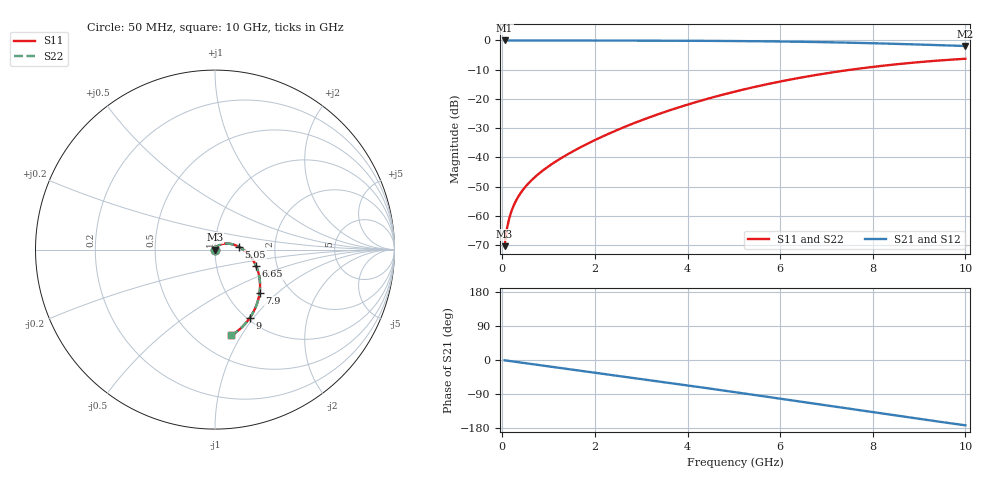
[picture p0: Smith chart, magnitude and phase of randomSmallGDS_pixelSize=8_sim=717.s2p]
! freq	dB(S11)	phase(S11)	dB(S12)	phase(S12)
!  dB(S21)	phase(S21)	dB(S22)	phase(S22)
!S-par simulation data
#  GHz  S  DB  R 50
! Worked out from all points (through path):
!   200 points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, 50 MHz to 10 GHz, reference 50 ohm
!   highest |S21| = 0.00 dB at 50 MHz (marker M1); lowest = -1.9 dB at 10 GHz (marker M2)
!   group delay of S21, straight-line fit = 48.2 ps
!   lowest |S11| = -70.3 dB at 50 MHz (marker M3), VSWR 1.00, Z = 50 + j0.0303 ohm
!   |S11| at or under -10 dB: start of sweep to 7.528 GHz
!   |S22| runs from -70.3 to -6.3 dB; largest |S21 - S12| = 0
!   S11 on the Smith chart (normalised r, x): 50 MHz: 1.00, +0.00; 5.05 GHz: 1.31, +0.04; 6.65 GHz: 1.56, -0.31; 7.9 GHz: 1.42, -0.77; 9 GHz: 1.03, -0.96; 10 GHz: 0.72, -0.91
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0.05  -70.32 84.4  -0.00 -0.8  -0.00 -0.8  -70.32 84.4
0.1  -64.32 86.1  -0.00 -1.7  -0.00 -1.7  -64.32 86.1
0.15  -60.78 86.3  -0.00 -2.5  -0.00 -2.5  -60.78 86.3
0.2  -58.26 86.0  -0.00 -3.3  -0.00 -3.3  -58.26 86.0
0.3  -54.66 85.0  -0.00 -5.0  -0.00 -5.0  -54.66 85.0
0.45  -50.98 83.2  -0.01 -7.5  -0.01 -7.5  -50.98 83.2
0.65  -47.49 80.5  -0.01 -10.8  -0.01 -10.8  -47.49 80.5
0.95  -43.58 76.2  -0.02 -15.8  -0.02 -15.8  -43.58 76.2
1.3  -39.96 70.9  -0.02 -21.6  -0.02 -21.6  -39.96 70.9
1.75  -36.01 63.6  -0.03 -29.1  -0.03 -29.1  -36.01 63.6
2.55  -30.16 50.0  -0.05 -42.4  -0.05 -42.4  -30.16 50.0
3.4  -25.03 35.3  -0.08 -56.8  -0.08 -56.8  -25.03 35.3
4.25  -20.76 20.4  -0.12 -71.4  -0.12 -71.4  -20.76 20.4
5.05  -17.38 6.4  -0.20 -85.3  -0.20 -85.3  -17.38 6.4
5.85  -14.52 -7.8  -0.32 -99.4  -0.32 -99.4  -14.52 -7.8
6.65  -12.13 -22.0  -0.50 -113.7  -0.50 -113.7  -12.13 -22.0
6.7  -12.00 -22.8  -0.51 -114.6  -0.51 -114.6  -12.00 -22.8
7.3  -10.51 -33.5  -0.69 -125.3  -0.69 -125.3  -10.51 -33.5
7.9  -9.23 -44.0  -0.91 -136.0  -0.91 -136.0  -9.23 -44.0
8.35  -8.41 -51.8  -1.09 -144.0  -1.09 -144.0  -8.41 -51.8
9  -7.41 -62.8  -1.39 -155.3  -1.39 -155.3  -7.41 -62.8
10  -6.25 -79.2  -1.90 -172.3  -1.90 -172.3  -6.25 -79.2
